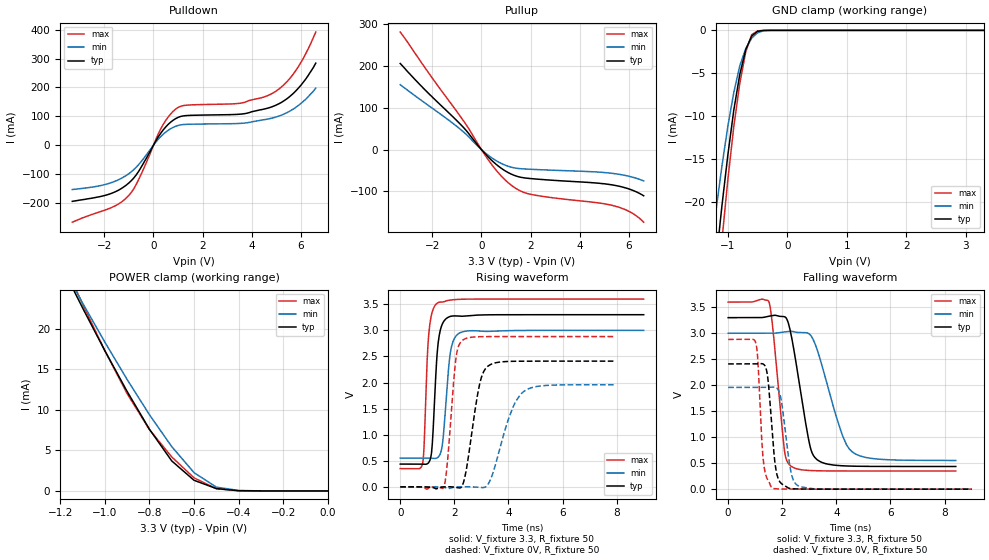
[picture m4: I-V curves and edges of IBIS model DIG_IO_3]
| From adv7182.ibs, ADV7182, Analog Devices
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[Model] DIG_IO_3
Model_type I/O
Vinl = 1.41V
Vinh = 1.64V
C_comp 2.96458pF 2.887957pF 3.012969pF
Vmeas = 1.5V
Cref = 10pF
[Model Spec]
| Subparameter   typ   min   max
| Thresholds
Vinh   1.51V   1.41V   1.64V
Vinl   1.51V   1.41V   1.64V
| Overshoot
S_overshoot_high   3.60V   3.30V   3.90V
S_overshoot_low   -0.30V   NA   NA
| Timing spec related
Vmeas   1.5V   1.45V   1.55V
Cref   10pF   NA   NA
| variable   typ   min   max
[Temperature Range]   55   125   -20
[Voltage Range]   3.30V   3.00V   3.60V
[Pulldown Reference]   0V   0V   0V
[Pullup Reference]   3.30V   3.00V   3.60V
[GND Clamp Reference]   0V   0V   0V
[POWER Clamp Reference]  3.30V   3.00V   3.60V
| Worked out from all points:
|   slope of the pulldown table from 0 to 0.495 V, typ, clamps not added: 7.88 ohm
|   slope of the pullup table from 0 to 0.495 V, typ, clamps not added: 16.5 ohm
|   GND clamp passes 1 mA (typ) near -0.62 V on its own axis
|   POWER clamp passes 1 mA (typ) near -0.57 V on its own axis
|   falling waveform, V_fixture 3.3, R_fixture 50: 20-80 % time 540ps typ, 826ps min, 347ps max; typ from 3.3 V to 0.437 V
|   falling waveform, V_fixture 0V, R_fixture 50: 20-80 % time 229ps typ, 295ps min, 179ps max; typ from 2.41 V to 0 V
|   rising waveform, V_fixture 3.3, R_fixture 50: 20-80 % time 188ps typ, 232ps min, 161ps max; typ from 0.437 V to 3.3 V
|   rising waveform, V_fixture 0V, R_fixture 50: 20-80 % time 428ps typ, 701ps min, 263ps max; typ from 0 V to 2.41 V
[Pulldown]
| Note: Vtable = Vpin
| Voltage   I(typ)   I(min)   I(max)
-3.3V     -194.5mA   -153.6mA   -266.8mA
-1.8V     -169.6mA   -132.2mA   -219.4mA
-1V       -130.8mA   -98.58mA   -173.7mA
-600mV    -90.21mA   -66.91mA   -118.4mA
300mV     42.03mA    30.3mA     57.25mA
900mV     92mA       65.46mA    125mA
1.3V      102.4mA    72.1mA     138.3mA
3.6V      108.1mA    75.97mA    146.5mA
4.8V      132.5mA    93.5mA     178.1mA
5.7V      180.5mA    125.9mA    248mA
6.1V      219.1mA    152.5mA    301.8mA
6.6V      284.3mA    197.9mA    392mA
[Pullup]
| Note: Vtable = VCC - Vpin
| Voltage   I(typ)   I(min)   I(max)
-3.3V     206mA      155.2mA    281.1mA
-2.3V     143.2mA    111.7mA    196.4mA
-1V       69.2mA     55.39mA    91.14mA
-600mV    44.33mA    35.33mA    57.98mA
300mV     -19.17mA   -14.67mA   -26.38mA
800mV     -44.54mA   -33.08mA   -62.86mA
1.2V      -58.45mA   -42.03mA   -84.73mA
1.6V      -66.39mA   -45.88mA   -99.48mA
2V        -69.5mA    -47.24mA   -107.1mA
5.5V      -86.63mA   -58.43mA   -136.5mA
6.1V      -96.5mA    -65.55mA   -151.1mA
6.6V      -110.7mA   -75.16mA   -173.9mA
[GND Clamp]
| Note: Vtable = Vpin
| Voltage   I(typ)   I(min)   I(max)
-3.3V     -214.6mA   -182.3mA   -244.7mA
-1.3V     -33.86mA   -26.47mA   -40.29mA
-1.2V     -26.91mA   -20.95mA   -32.11mA
-1.1V     -20.38mA   -15.76mA   -24.39mA
-1V       -14.44mA   -11.11mA   -17.3mA
-900mV    -9.232mA   -7.193mA   -11.15mA
-800mV    -5.115mA   -4.121mA   -6.172mA
-700mV    -2.238mA   -2.12mA    -2.494mA
-600mV    -648.2uA   -898.6uA   -511.8uA
-500mV    -104.3uA   -270.4uA   -54.65uA
-300mV    -1.061uA   -3.761uA   -151.6nA
3.3V      383.6pA    5.02uA     65.47pA
[Power Clamp]
| Note: Vtable = VCC - Vpin
| Voltage   I(typ)   I(min)   I(max)
-3.3V     180.4mA    166.4mA    204.3mA
-1.2V     28.12mA    28.23mA    29.18mA
-1.1V     22.63mA    23.22mA    23.11mA
-1V       17.33mA    18.39mA    17.33mA
-900mV    12.29mA    13.77mA    12.02mA
-800mV    7.626mA    9.417mA    7.573mA
-700mV    3.706mA    5.472mA    4.2mA
-600mV    1.313mA    2.258mA    1.613mA
-500mV    289.5uA    469.4uA    276.2uA
-400mV    28.81uA    53.98uA    14.09uA
0V        383.6pA    3.499nA    79.52pA
[Ramp]
| Variable   typ   min   max
dV/dt_r   1.45V/426.3164ps   1.17V/699.8051ps   1.73V/262.3824ps
dV/dt_f   1.72V/539.7711ps   1.47V/854.5758ps   1.94V/348.3187ps
R_load =  50
[Falling Waveform]
V_fixture =  3.3
R_fixture =  50
V_fixture_max =  3.6
V_fixture_min =  3
| R_dut = 0.23Ohm
| L_dut = 6.2nH
| C_dut = 1.05pF
| Time   V(typ)   V(min)   V(max)
0s        3.3V       3V         3.6V
1.514ns   3.329V     3V         3.595V
1.666ns   3.342V     3V         3.023V
2.078ns   3.318V     3.025V     756.5mV
2.315ns   3.003V     3.037V     446.3mV
3.022ns   838.8mV    2.977V     358.8mV
3.301ns   562.5mV    2.668V     353.8mV
4.152ns   451.9mV    1.145V     349.9mV
4.582ns   442.7mV    720.6mV    349.6mV
8.417ns   436.5mV    552.1mV    349.4mV
[Falling Waveform]
V_fixture = 0V
R_fixture =  50
| R_dut = 0.23Ohm
| L_dut = 6.2nH
| C_dut = 1.05pF
| Time   V(typ)   V(min)   V(max)
0s        2.41V      1.958V     2.881V
1.021ns   2.41V      1.958V     2.813V
1.103ns   2.412V     1.957V     2.438V
1.303ns   2.405V     1.957V     537mV
1.453ns   2.192V     1.959V     189.6mV
1.619ns   1.163V     1.965V     25.31mV
1.848ns   204.3mV    1.915V     5.159mV
2.321ns   10.36mV    333mV      1.12mV
2.577ns   3.845mV    68.51mV    530.8uV
9ns       34.8nV     323.1nV    -9.49nV
[Rising Waveform]
V_fixture =  3.3
R_fixture =  50
V_fixture_max =  3.6
V_fixture_min =  3
| R_dut = 0.23Ohm
| L_dut = 6.2nH
| C_dut = 1.05pF
| Time   V(typ)   V(min)   V(max)
0s        436.5mV    551.8mV    349.4mV
816.7ps   435.3mV    551.9mV    431.6mV
876.8ps   433.2mV    552mV      734.1mV
1.057ns   468.8mV    551.2mV    2.941V
1.174ns   745.8mV    547.3mV    3.338V
1.364ns   2.551V     555.7mV    3.52V
1.572ns   3.14V      870mV      3.543V
1.868ns   3.27V      2.617V     3.582V
2.155ns   3.272V     2.937V     3.594V
9ns       3.3V       3V         3.6V
[Rising Waveform]
| R_dut = 0.23Ohm
| L_dut = 6.2nH
| C_dut = 1.05pF
V_fixture = 0V
R_fixture =  50
| R_dut = 0.23Ohm
| L_dut = 6.2nH
| C_dut = 1.05pF
| Time   V(typ)   V(min)   V(max)
0s        1.236nV    13.89nV    364.6pV
1.612ns   -469.6uV   -11.38mV   -3.632mV
1.753ns   1.755mV    -26.7mV    520.9mV
2.048ns   -9.232mV   -3.08mV    2.417V
2.309ns   41.88mV    1.092mV    2.812V
2.895ns   1.867V     -9.495mV   2.878V
3.233ns   2.31V      38.71mV    2.88V
4.176ns   2.407V     1.537V     2.881V
4.583ns   2.409V     1.836V     2.881V
7.893ns   2.41V      1.958V     2.881V
